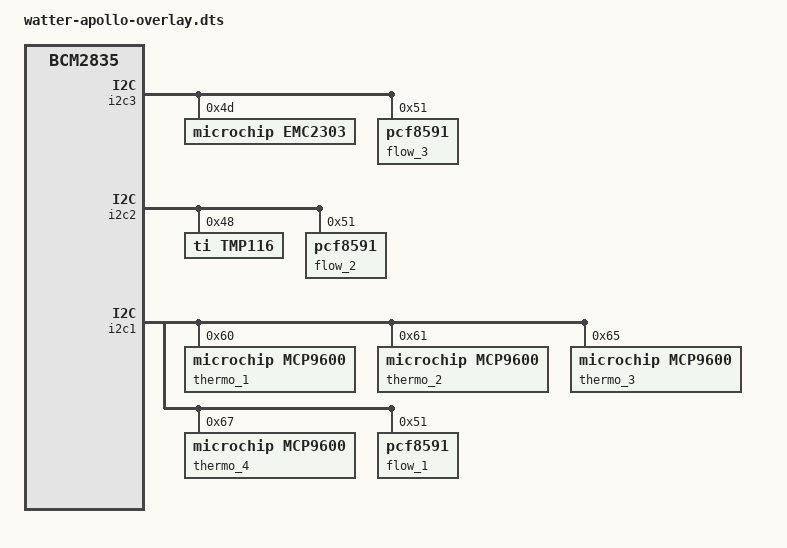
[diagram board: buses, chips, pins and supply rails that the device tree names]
// Definitions for WATTER Apollo RPi Board
/dts-v1/;
/plugin/;

#include <dt-bindings/thermal/thermal.h>

/ {
	compatible = "brcm,bcm2835";

	fragment@0 {
		target-path = "i2c3";
		__overlay__ {
			#address-cells = <1>;
			#size-cells = <0>;
			status = "okay";

			emc2303: emc2303@4d {
				compatible = "microchip,emc2303";
				emc2305,pwm-channel = <1>;
				reg = <0x4d>;
				#cooling-cells = <0x02>;
			};

			flow_3: pcf8593@51 {
				compatible = "pcf8591";
				reg = <0x51>;
			};
		};
	};

	fragment@1 {
		target-path = "i2c2";
		__overlay__ {
			#address-cells = <1>;
			#size-cells = <0>;
			status = "okay";

			tmp116: tmp116@48 {
				compatible = "ti,tmp116";
				reg = <0x48>;
				#thermal-sensor-cells = <0>;

				status = "okay";
			};

			flow_2: pcf8593@51 {
				compatible = "pcf8591";
				reg = <0x51>;
			};
		};
	};

	fragment@2 {
		target-path = "i2c1";
		__overlay__ {
			#address-cells = <1>;
			#size-cells = <0>;
			status = "okay";

			thermo_1: mcp9600@60 {
				compatible = "microchip,mcp9600";
				reg = <0x60>;
				#thermal-sensor-cells = <0>;
			};

			thermo_2: mcp9600@61 {
				compatible = "microchip,mcp9600";
				reg = <0x61>;
				#thermal-sensor-cells = <0>;
			};

			thermo_3: mcp9600@65 {
				compatible = "microchip,mcp9600";
				reg = <0x65>;
				#thermal-sensor-cells = <0>;
			};

			thermo_4: mcp9600@67 {
				compatible = "microchip,mcp9600";
				reg = <0x67>;
				#thermal-sensor-cells = <0>;
			};

			flow_1: pcf8593@51 {
				compatible = "pcf8591";
				reg = <0x51>;
			};
		};
	};

	fragment@3 {
		target-path = "/thermal-zones";
		__overlay__ {
			watter_thermal: watter-thermal {
				polling-delay-passive = <1000>;
				polling-delay = <2000>;
				coefficients = <(-556) 418000>;

				thermal-sensors = <&tmp116>;

				watter_cooling_maps: cooling-maps {
					watter_map0: watter-map0 {
						trip = <&watter_fanmid0>;
						cooling-device = <&emc2303 2 6>;
					};
					watter_map1: watter-map1 {
						trip = <&watter_fanmax0>;
						cooling-device = <&emc2303 7 THERMAL_NO_LIMIT>;
					};
				};

				watter_trips: trips {
					watter_fanmid0: watter-fanmid0 {
						temperature = <50000>;
						hysteresis = <2000>;
						type = "passive";
					};
					watter_fanmax0: watter-fanmax0 {
						temperature = <75000>;
						hysteresis = <2000>;
						type = "passive";
					};
				};
			};
		};
	};

	__overrides__ {
	};
};
